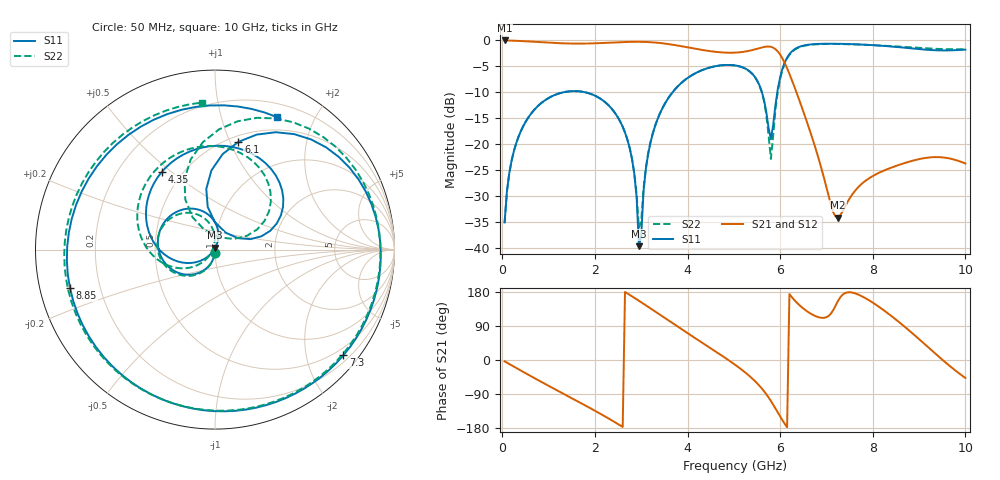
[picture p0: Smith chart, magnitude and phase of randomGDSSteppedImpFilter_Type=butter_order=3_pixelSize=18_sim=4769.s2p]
! freq	dB(S11)	phase(S11)	dB(S12)	phase(S12)
!  dB(S21)	phase(S21)	dB(S22)	phase(S22)
!S-par simulation data
#  GHz  S  DB  R 50
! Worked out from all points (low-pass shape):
!   200 points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, 50 MHz to 10 GHz, reference 50 ohm
!   highest |S21| = -0.01 dB at 50 MHz (marker M1); lowest = -34.1 dB at 7.25 GHz (marker M2)
!   |S21| within 3 dB of the highest: start of sweep to 6.018 GHz
!   lowest |S11| = -39.7 dB at 2.95 GHz (marker M3), VSWR 1.02, Z = 50 + j1.04 ohm
!   |S11| at or under -10 dB: start of sweep to 1.32 GHz; 1.788 GHz to 3.678 GHz (1.89 GHz wide, 69.2 % of centre); 5.607 GHz to 5.939 GHz (332 MHz wide, 5.75 % of centre)
!   |S22| runs from -36.1 to -0.7 dB; largest |S21 - S12| = 0
!   S11 on the Smith chart (normalised r, x): 50 MHz: 1.00, -0.04; 4.35 GHz: 0.39, +0.46; 6.1 GHz: 0.56, +1.08; 7.3 GHz: 0.33, -2.76; 8.85 GHz: 0.09, -0.13; 10 GHz: 0.35, +1.52
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0.05  -35.08 -91.1  -0.01 -3.5  -0.01 -3.5  -35.08 -90.9
0.2  -23.21 -104.3  -0.05 -14.0  -0.05 -14.0  -23.21 -103.5
0.5  -15.75 -126.1  -0.17 -34.7  -0.17 -34.7  -15.75 -124.2
1.75  -9.93 149.1  -0.61 -117.1  -0.61 -117.1  -9.93 156.1
2.65  -17.76 85.2  -0.31 179.7  -0.31 179.7  -17.75 98.5
2.85  -25.69 71.8  -0.27 164.2  -0.27 164.2  -25.55 91.7
2.95  -39.66 90.9  -0.27 156.3  -0.27 156.3  -36.09 127.4
3.15  -21.88 -139.0  -0.32 140.3  -0.32 140.3  -21.74 -133.3
3.4  -14.17 -158.3  -0.50 119.8  -0.50 119.8  -14.13 -148.1
4.35  -5.61 124.5  -1.89 42.9  -1.89 42.9  -5.61 139.7
5.05  -4.86 68.1  -2.35 -14.5  -2.35 -14.5  -4.87 84.0
5.55  -8.57 22.8  -1.50 -67.6  -1.50 -67.6  -8.66 35.3
5.8  -19.05 57.9  -1.24 -108.1  -1.24 -108.1  -22.85 70.4
6.1  -4.23 77.7  -4.38 -168.7  -4.38 -168.7  -4.41 96.5
6.35  -1.50 42.7  -9.95 152.6  -9.95 152.6  -1.59 58.4
6.7  -0.74 7.1  -18.98 119.6  -18.98 119.6  -0.80 19.9
7.25  -0.65 -35.8  -34.14 156.1  -34.14 156.1  -0.70 -27.0
7.3  -0.66 -39.4  -33.68 165.8  -33.68 165.8  -0.70 -31.0
8.35  -1.14 -118.5  -24.69 121.0  -24.69 121.0  -1.08 -112.8
8.85  -1.56 -165.2  -23.22 71.1  -23.22 71.1  -1.37 -155.3
9.5  -1.94 121.1  -22.54 1.0  -22.54 1.0  -1.67 143.5
10  -1.78 64.9  -23.72 -47.4  -23.72 -47.4  -1.70 95.1
